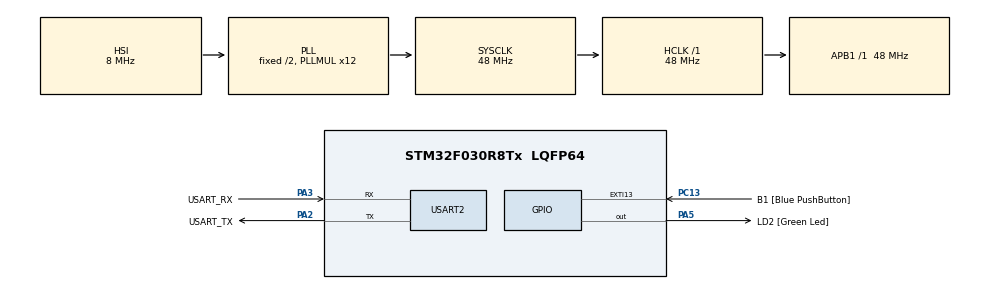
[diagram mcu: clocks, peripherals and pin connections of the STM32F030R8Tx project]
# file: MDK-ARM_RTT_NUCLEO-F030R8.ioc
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Mcu.Family=STM32F0
Mcu.Name=STM32F030R8Tx
Mcu.Package=LQFP64
PA13.GPIO_Label=TMS
PA13.Mode=Serial_Wire
PA13.Signal=SYS_SWDIO
PA14.GPIO_Label=TCK
PA14.Mode=Serial_Wire
PA14.Signal=SYS_SWCLK
PA2.GPIO_Label=USART_TX
PA2.GPIO_Mode=GPIO_MODE_AF_PP
PA2.GPIO_PuPd=GPIO_NOPULL
PA2.GPIO_Speed=GPIO_SPEED_FREQ_LOW
PA2.Mode=Asynchronous
PA2.Signal=USART2_TX
PA3.GPIO_Label=USART_RX
PA3.GPIO_Mode=GPIO_MODE_AF_PP
PA3.GPIO_PuPd=GPIO_NOPULL
PA3.GPIO_Speed=GPIO_SPEED_FREQ_LOW
PA3.Mode=Asynchronous
PA3.Signal=USART2_RX
PA5.GPIO_Label=LD2 [Green Led]
PA5.GPIO_Mode=GPIO_MODE_OUTPUT_PP
PA5.GPIO_PuPd=GPIO_NOPULL
PA5.GPIO_Speed=GPIO_SPEED_FREQ_LOW
PA5.Signal=GPIO_Output
PC13.GPIO_Label=B1 [Blue PushButton]
PC13.GPIO_ModeDefaultEXTI=GPIO_MODE_IT_FALLING
PC13.Signal=GPXTI13
PC14-OSC32_IN.Mode=LSE-External-Oscillator
PC14-OSC32_IN.Signal=RCC_OSC32_IN
PC15-OSC32_OUT.Mode=LSE-External-Oscillator
PC15-OSC32_OUT.Signal=RCC_OSC32_OUT
PF0-OSC_IN.Mode=HSE-External-Clock-Source
PF0-OSC_IN.Signal=RCC_OSC_IN
PF1-OSC_OUT.Signal=RCC_OSC_OUT
ProjectManager.HeapSize=0x200
ProjectManager.StackSize=0x400
ProjectManager.TargetToolchain=MDK-ARM V5.27
RCC.AHBFreq_Value=48000000
RCC.APB1Freq_Value=48000000
RCC.APB1TimFreq_Value=48000000
RCC.HCLKFreq_Value=48000000
RCC.PLLMUL=RCC_PLL_MUL12
RCC.SYSCLKFreq_VALUE=48000000
RCC.SYSCLKSource=RCC_SYSCLKSOURCE_PLLCLK
USART2.VirtualMode-Asynchronous=VM_ASYNC
board=NUCLEO-F030R8

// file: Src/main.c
/* USER CODE BEGIN Header */
/**
  ******************************************************************************
  * @file           : main.c
  * @brief          : Main program body
  ******************************************************************************
  * @attention
  *
  * <h2><center>&copy; Copyright (c) 2020 STMicroelectronics.
  * All rights reserved.</center></h2>
  *
  * This software component is licensed by ST under BSD 3-Clause license,
  * the "License"; You may not use this file except in compliance with the
  * License. You may obtain a copy of the License at:
  *                        opensource.org/licenses/BSD-3-Clause
  *
  ******************************************************************************
  */
/* USER CODE END Header */

#include "main.h"

/* USER CODE BEGIN Includes */
#include "trice.h"
/* USER CODE END Includes */

UART_HandleTypeDef huart2;

void SystemClock_Config(void);
static void MX_GPIO_Init(void);
static void MX_USART2_UART_Init(void);

int main(void)
{

  /* MCU Configuration--------------------------------------------------------*/

  /* Reset of all peripherals, Initializes the Flash interface and the Systick. */
  HAL_Init();

  /* Configure the system clock */
  SystemClock_Config();

  /* Initialize all configured peripherals */
  MX_GPIO_Init();
  MX_USART2_UART_Init();

  /* Infinite loop */
  /* USER CODE BEGIN WHILE */
    TRICE_SYNC;
    TRICE16_1( Id(32622), "TIM:timing      message, SysTick is %6d\n", SYSTICKVAL16 );
    TRICE0( Id( 1674), "att:MDK-ARM_RTT_NUCLEO-F030R8\n" );
    TRICE16_1( Id( 9580), "TIM:timing      message, SysTick is %6d\n", SYSTICKVAL16 );
    TRICE16_1( Id(29396), "TIM:timing      message, SysTick is %6d\n", SYSTICKVAL16 );
    TRICE16_1( Id(13630), "TIM:timing      message, SysTick is %6d\n", SYSTICKVAL16 );
    TRICE16_1( Id(15281), "TIM:timing      message, SysTick is %6d\n", SYSTICKVAL16 );
    SEGGER_RTT_GetAvailWriteSpace(0);
    char* s = "Hi5!\n";
    SEGGER_RTT_Write(0, s, strlen(s));
  while (1)
  {
      //////////////////////////////////////////////////
      // demo trices
      //
      static uint32_t ms_1 = 0;
      uint32_t ms = HAL_GetTick();
      if( ms >= ms_1 + 1000 ){ // every sec
          TRICE_SYNC; // for re-synchronisation the running target
          static int index = 0;
          triceCheckSet(index++%20);
          TRICE32_1( Id(20319), "time:ms = %d\n", ms );
          ms_1 = ms;
      }
      //
      //////////////////////////////////////////////////

      //////////////////////////////////////////////////
      // no background activity needed in code
      //////////////////////////////////////////////////

    /* USER CODE END WHILE */

  }
}

void SystemClock_Config(void)
{
  RCC_OscInitTypeDef RCC_OscInitStruct = {0};
  RCC_ClkInitTypeDef RCC_ClkInitStruct = {0};

  /** Initializes the CPU, AHB and APB busses clocks
  */
  RCC_OscInitStruct.OscillatorType = RCC_OSCILLATORTYPE_HSI;
  RCC_OscInitStruct.HSIState = RCC_HSI_ON;
  RCC_OscInitStruct.HSICalibrationValue = RCC_HSICALIBRATION_DEFAULT;
  RCC_OscInitStruct.PLL.PLLState = RCC_PLL_ON;
  RCC_OscInitStruct.PLL.PLLSource = RCC_PLLSOURCE_HSI;
  RCC_OscInitStruct.PLL.PLLMUL = RCC_PLL_MUL12;
  RCC_OscInitStruct.PLL.PREDIV = RCC_PREDIV_DIV1;
  if (HAL_RCC_OscConfig(&RCC_OscInitStruct) != HAL_OK)
  {
    Error_Handler();
  }
  /** Initializes the CPU, AHB and APB busses clocks
  */
  RCC_ClkInitStruct.ClockType = RCC_CLOCKTYPE_HCLK|RCC_CLOCKTYPE_SYSCLK
                              |RCC_CLOCKTYPE_PCLK1;
  RCC_ClkInitStruct.SYSCLKSource = RCC_SYSCLKSOURCE_PLLCLK;
  RCC_ClkInitStruct.AHBCLKDivider = RCC_SYSCLK_DIV1;
  RCC_ClkInitStruct.APB1CLKDivider = RCC_HCLK_DIV1;

  if (HAL_RCC_ClockConfig(&RCC_ClkInitStruct, FLASH_LATENCY_1) != HAL_OK)
  {
    Error_Handler();
  }
}

static void MX_USART2_UART_Init(void)
{

  huart2.Instance = USART2;
  huart2.Init.BaudRate = 38400;
  huart2.Init.WordLength = UART_WORDLENGTH_8B;
  huart2.Init.StopBits = UART_STOPBITS_1;
  huart2.Init.Parity = UART_PARITY_NONE;
  huart2.Init.Mode = UART_MODE_TX_RX;
  huart2.Init.HwFlowCtl = UART_HWCONTROL_NONE;
  huart2.Init.OverSampling = UART_OVERSAMPLING_16;
  huart2.Init.OneBitSampling = UART_ONE_BIT_SAMPLE_DISABLE;
  huart2.AdvancedInit.AdvFeatureInit = UART_ADVFEATURE_NO_INIT;
  if (HAL_UART_Init(&huart2) != HAL_OK)
  {
    Error_Handler();
  }

}

static void MX_GPIO_Init(void)
{
  GPIO_InitTypeDef GPIO_InitStruct = {0};

  /* GPIO Ports Clock Enable */
  __HAL_RCC_GPIOC_CLK_ENABLE();
  __HAL_RCC_GPIOF_CLK_ENABLE();
  __HAL_RCC_GPIOA_CLK_ENABLE();

  /*Configure GPIO pin Output Level */
  HAL_GPIO_WritePin(LD2_GPIO_Port, LD2_Pin, GPIO_PIN_RESET);

  /*Configure GPIO pin : B1_Pin */
  GPIO_InitStruct.Pin = B1_Pin;
  GPIO_InitStruct.Mode = GPIO_MODE_IT_FALLING;
  GPIO_InitStruct.Pull = GPIO_NOPULL;
  HAL_GPIO_Init(B1_GPIO_Port, &GPIO_InitStruct);

  /*Configure GPIO pin : LD2_Pin */
  GPIO_InitStruct.Pin = LD2_Pin;
  GPIO_InitStruct.Mode = GPIO_MODE_OUTPUT_PP;
  GPIO_InitStruct.Pull = GPIO_NOPULL;
  GPIO_InitStruct.Speed = GPIO_SPEED_FREQ_LOW;
  HAL_GPIO_Init(LD2_GPIO_Port, &GPIO_InitStruct);

}

void Error_Handler(void)
{
}

/************************ (C) COPYRIGHT STMicroelectronics *****END OF FILE****/
